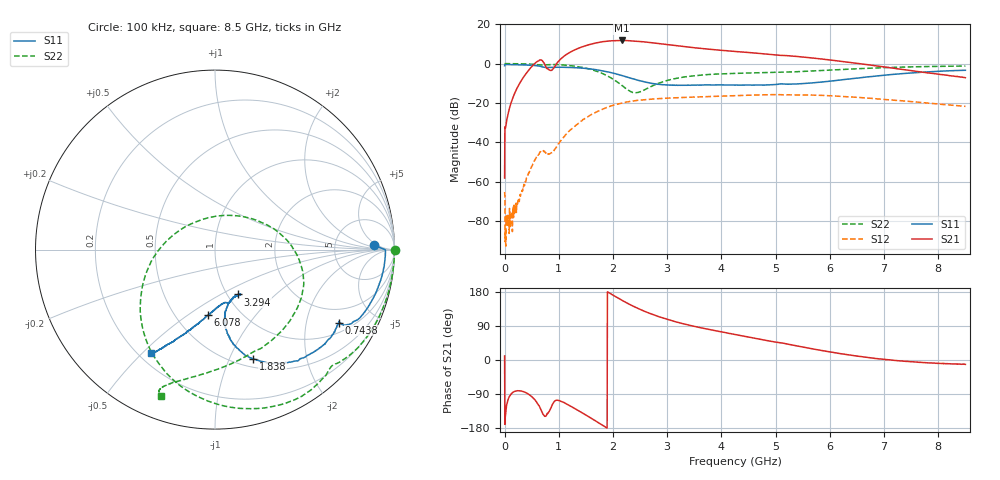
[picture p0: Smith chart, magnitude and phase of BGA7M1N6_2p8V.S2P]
! (c) 2014 Infineon Technologies AG
! BGA7M1N6 - Silicon Germanium Low Noise Amplifier for LTE
! 03 October 2014
! Special Application Board
! C1 = L1 = 0 Ohm
! C2 = 100 nF
! Vcc = 2.8V
! RF input and output lines de-embedded
! Port 1 reference plane: LNA input AI (pin 5)
! Port 2 reference plane: LNA output AO (pin 3)
! Network Data:
! Measured BGA7M1N6 device level s-parameters
# Hz S dB R 50
!Freq  MagS11  AngS11  MagS21  AngS21  MagS12  AngS12  MagS22  AngS22
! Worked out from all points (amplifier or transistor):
!   1601 points, 100 kHz to 8.5 GHz, reference 50 ohm
!   highest |S21| = 11.8 dB at 2.157 GHz (marker M1)
!   |S21| within 3 dB of that: 1.46 GHz to 3.27 GHz (1.81 GHz wide, 76.5 % of centre)
!   unconditionally stable (mu >= 1): 7.585 MHz to 30.27 MHz; 33.69 MHz to end of sweep
!   at 1.413 GHz: K = 1.42, MAG = 15.0 dB, |S12| = -29.3 dB
!   at 4.25 GHz: K = 1.26, MAG = 8.2 dB, |S12| = -16.3 dB
!   at 8.5 GHz: K = 2.15, MAG = 1.2 dB, |S12| = -21.8 dB
!   lowest NFmin = 0.54 dB at 2.04 GHz
!   S11 on the Smith chart (normalised r, x): 100 kHz: 15, +4; 743.8 MHz: 1.37, -3.13; 1.838 GHz: 0.59, -1.23; 3.294 GHz: 1.12, -0.61; 6.078 GHz: 0.71, -0.60; 8.5 GHz: 0.25, -0.53
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100000  -1.07 1.8  -58.22 10.8  -65.30 172.8  0.01 -0.1
4.791194e7  -0.45 -2.0  -27.69 -113.6  -78.11 108.7  -0.01 -3.2
2.072851e8  -0.52 -9.0  -13.77 -81.9  -75.79 126.5  -0.04 -14.2
4.463448e8  -0.77 -19.1  -3.24 -90.6  -55.54 -161.4  -0.21 -30.3
6.004054e8  -1.10 -26.5  1.08 -113.8  -46.81 -173.5  -0.52 -40.6
6.854044e8  -1.55 -30.2  1.73 -136.7  -44.14 171.3  -0.74 -44.8
7.438412e8  -1.91 -30.4  -0.60 -148.6  -44.94 157.6  -0.66 -47.3
8.5009e8  -1.92 -31.5  -3.46 -128.1  -45.52 175.6  -0.50 -54.1
9.935258e8  -1.83 -35.5  1.18 -106.8  -40.75 -162.7  -0.52 -65.3
1.227273e9  -1.97 -44.5  6.10 -122.6  -33.38 -168.0  -1.06 -83.7
1.418521e9  -2.25 -52.3  8.43 -138.5  -29.22 -177.6  -1.85 -99.8
1.625706e9  -2.85 -61.7  10.14 -156.2  -25.57 168.2  -3.21 -118.8
1.838203e9  -3.79 -70.7  11.26 -175.1  -22.83 153.9  -5.45 -141.3
2.15695e9  -5.98 -80.4  11.79 158.3  -20.07 132.1  -10.93 173.0
2.475696e9  -8.59 -81.6  11.33 135.1  -18.61 113.6  -14.55 86.3
2.836942e9  -10.50 -73.3  10.24 114.6  -17.80 97.8  -10.02 26.4
3.293811e9  -11.05 -62.9  8.72 95.7  -17.22 83.7  -6.88 -2.8
4.25005e9  -10.86 -63.0  6.21 67.4  -16.28 63.6  -4.96 -37.2
5.668471e9  -9.82 -87.8  2.88 29.7  -16.00 36.4  -3.75 -84.1
6.077528e9  -8.71 -96.1  1.60 19.6  -16.45 29.1  -3.18 -94.9
7.086892e9  -5.67 -111.6  -2.01 0.5  -18.40 18.0  -1.96 -109.3
8.5e9  -3.38 -121.8  -7.17 -11.6  -21.75 23.4  -1.24 -110.3
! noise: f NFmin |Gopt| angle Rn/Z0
1.8e+09  0.5822  0.5027  46.47  0.1751
1.84e+09  0.5912  0.4953  45.28  0.1881
1.92e+09  0.5687  0.5119  48.08  0.1607
2e+09  0.5758  0.4894  49.18  0.1811
2.08e+09  0.5961  0.4994  48.93  0.1577
2.12e+09  0.6009  0.4831  50.54  0.163
2.2e+09  0.6033  0.4772  55.15  0.1693
2.4e+09  0.6204  0.4695  59.02  0.1882
2.6e+09  0.6406  0.4912  51.13  0.1723
2.75e+09  0.6702  0.4728  63.09  0.1721
